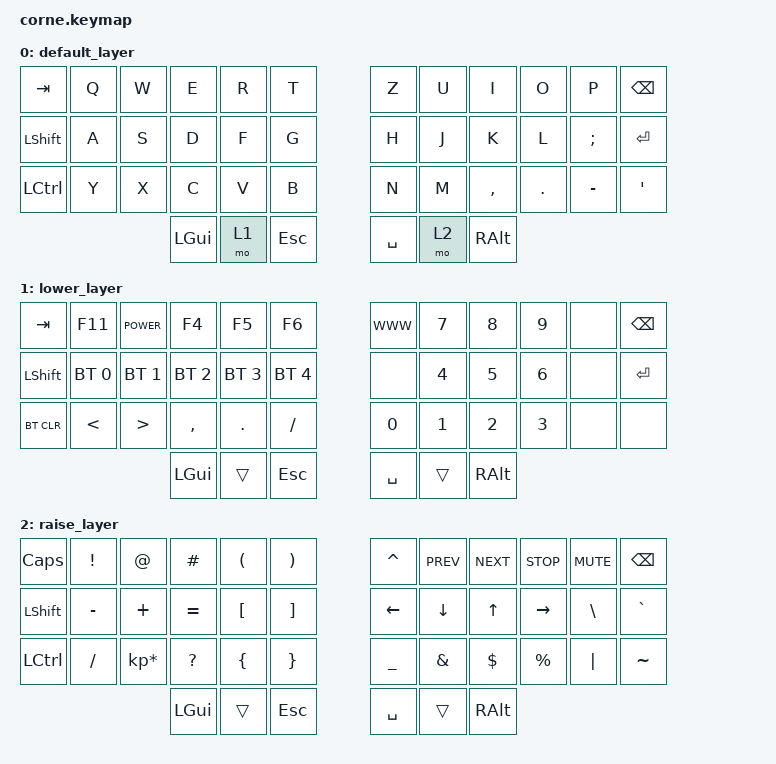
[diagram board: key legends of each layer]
/*
 * Copyright (c) 2020 The ZMK Contributors
 *
 * SPDX-License-Identifier: MIT
 */

#include <behaviors.dtsi>
#include <dt-bindings/zmk/keys.h>
#include <dt-bindings/zmk/bt.h>

/ {
        keymap {
                compatible = "zmk,keymap";
                
                default_layer {
// -----------------------------------------------------------------------------------------
// |  TAB |  Q  |  W  |  E  |  R  |  T  |   |  Z  |  U   |  I  |  O  |  P  | BKSP |
// | SHFT |  A  |  S  |  D  |  F  |  G  |   |  H  |  J   |  K  |  L  |  ;  | ENT  |
// | CTRL |  Y  |  X  |  C  |  V  |  B  |   |  N  |  M   |  ,  |  .  |  -  |  '   |
//                    | GUI | LWR | ESC |   | SPC | RSE  | ALT |
                        bindings = <
   &kp TAB   &kp Q &kp W &kp E &kp R &kp T   &kp Z &kp U &kp I     &kp O   &kp P     &kp BSPC
   &kp LSHFT &kp A &kp S &kp D &kp F &kp G   &kp H &kp J &kp K     &kp L   &kp SEMI  &kp RET
   &kp LCTRL &kp Y &kp X &kp C &kp V &kp B   &kp N &kp M &kp COMMA &kp DOT &kp MINUS &kp SQT
                  &kp LGUI &mo 1 &kp ESC         &kp SPACE &mo 2 &kp RALT
                        >;
                };
                lower_layer {
// -----------------------------------------------------------------------------------------
// |  TAB | F11 | PWR |  F4 |  F5 |  F6 |   | WEB |  7  |  8  |  9  |     | BKSP |
// | SHFT | BT1 | BT2 | BT3 | BT4 | BT5 |   |     |  4  |  5  |  6  |     | ENT  |
// | BTCLR|  <  |  >  |  ,  |  .  |  /  |   |  0  |  1  |  2  |  3  |     |      |
//                    | GUI |     | ESC |   | SPC |     | ALT |
                        bindings = <
   &kp TAB    &kp F11      &kp K_POWER  &kp F4       &kp F5       &kp F6         &kp K_WWW     &kp N7 &kp N8 &kp N9 &none   &kp BSPC
   &kp LSHFT  &bt BT_SEL 0 &bt BT_SEL 1 &bt BT_SEL 2 &bt BT_SEL 3 &bt BT_SEL 4   &none  &kp N4 &kp N5 &kp N6 &none   &kp RET
   &bt BT_CLR &kp LT       &kp GT       &kp COMMA    &kp DOT      &kp SLASH      &kp N0 &kp N1 &kp N2 &kp N3 &none   &none 
                                              &kp LGUI &trans &kp ESC                &kp SPACE &trans &kp RALT
                        >;
                };

                raise_layer {
// -----------------------------------------------------------------------------------------
// | CAPS |  !  |  @  |  #  |  (  |  )  |   |  ^  | PREV| NEXT| STP | MUTE| BKSP |
// | SHFT |  -  |  +  |  =  |  [  |  ]  |   | LFT | DWN |  UP | RGT |  \  |  `   |
// | CTRL |  /  |  *  |  ?  |  {  |  }  |   |  _  |  &  |  $  |  %  | "|" |  ~   |
//                    | GUI |     | ESC |   | SPC |     | ALT |
                        bindings = <
   &kp CAPS  &kp EXCL  &kp AT          &kp HASH  &kp LPAR &kp RPAR   &kp CARET &kp C_PREV &kp C_NEXT &kp C_STOP &kp C_MUTE &kp BSPC
   &kp LSHFT &kp MINUS &kp PLUS        &kp EQUAL &kp LBKT &kp RBKT   &kp LEFT  &kp DOWN   &kp UP     &kp RIGHT  &kp BSLH   &kp GRAVE
   &kp LCTRL &kp FSLH  &kp KP_MULTIPLY &kp QMARK &kp LBRC &kp RBRC   &kp UNDER &kp AMPS   &kp DLLR   &kp PRCNT  &kp PIPE   &kp TILDE
                                      &kp LGUI &trans &kp ESC            &kp SPACE &trans &kp RALT
                        >;
                };
        };
};
